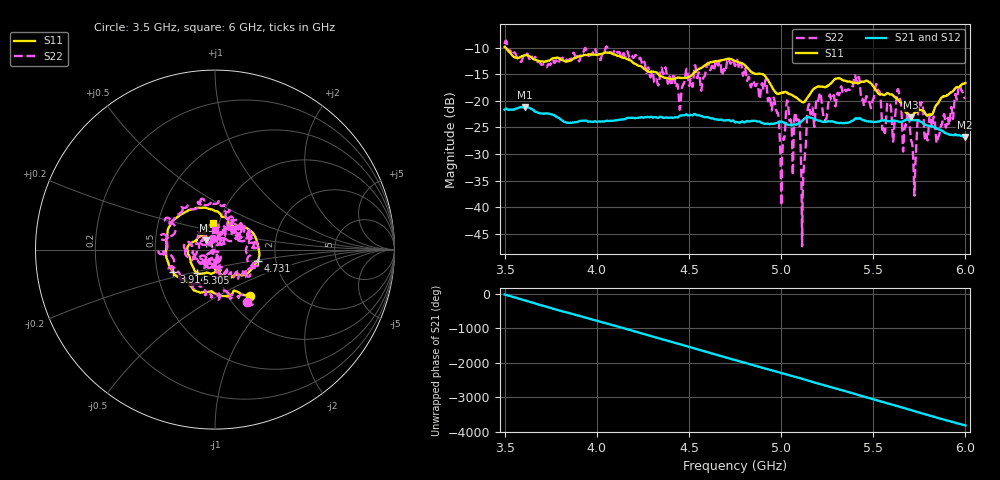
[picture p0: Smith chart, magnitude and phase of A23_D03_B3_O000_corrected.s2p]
! Created with skrf 1.9.0 (http://scikit-rf.org).
# Hz S RI R 50.0
!freq ReS11 ImS11 ReS21 ImS21 ReS12 ImS12 ReS22 ImS22
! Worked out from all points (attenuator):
!   1601 points, 3.5 GHz to 6 GHz, reference 50 ohm
!   highest |S21| = -21.13 dB at 3.611 GHz (marker M1); lowest = -26.8 dB at 5.997 GHz (marker M2)
!   lowest |S11| = -23.1 dB at 5.703 GHz (marker M3), VSWR 1.15, Z = 45.2 + j4.61 ohm
!   |S11| at or under -10 dB: 3.506 GHz to end of sweep
!   |S22| runs from -47.4 to -8.6 dB; largest |S21 - S12| = 0.00098
!   S11 on the Smith chart (normalised r, x): 3.5 GHz: 1.25, -0.72; 3.914 GHz: 0.61, -0.16; 4.731 GHz: 1.61, -0.21; 5.305 GHz: 0.79, -0.21; 6 GHz: 0.94, +0.28
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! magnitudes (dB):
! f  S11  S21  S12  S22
! 3.5 GHz  -9.8  -21.6  -21.6  -9.3
! 3.611 GHz  -11.4  -21.1  -21.1  -11.8
! 3.914 GHz  -11.6  -23.7  -23.7  -11.2
! 3.917 GHz  -11.6  -23.7  -23.7  -10.9
! 4.334 GHz  -15.0  -23.2  -23.1  -17.1
! 4.731 GHz  -12.2  -23.8  -23.8  -12.7
! 4.75 GHz  -12.5  -24.0  -23.9  -13.4
! 4.967 GHz  -18.2  -24.2  -24.2  -20.6
! 5.005 GHz  -18.4  -23.9  -23.9  -32.3
! 5.034 GHz  -18.5  -24.5  -24.4  -19.9
! 5.088 GHz  -19.5  -24.4  -24.4  -23.5
! 5.119 GHz  -20.2  -23.6  -23.5  -36.1
! 5.145 GHz  -19.3  -23.0  -23.0  -21.4
! 5.167 GHz  -18.1  -23.2  -23.2  -21.4
! 5.305 GHz  -15.8  -24.1  -24.1  -18.7
! 5.584 GHz  -18.6  -23.8  -23.8  -20.4
! 5.703 GHz  -23.1  -23.6  -23.6  -26.8
! 5.722 GHz  -22.3  -23.6  -23.6  -36.3
! 5.756 GHz  -21.7  -23.9  -23.8  -20.9
! 5.852 GHz  -20.4  -25.3  -25.2  -26.8
! 5.997 GHz  -16.7  -26.8  -26.7  -19.4
! 6 GHz  -16.6  -26.8  -26.7  -19.4
